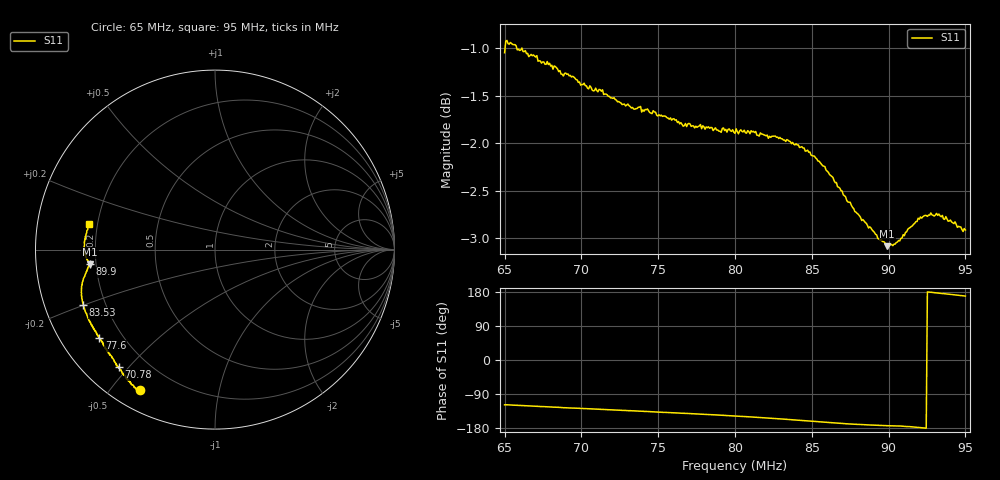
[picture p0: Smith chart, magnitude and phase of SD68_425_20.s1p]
! NanoVNA-App
! Date: 2025-08-09 16:40:08
! Start: 65MHz Stop: 95MHz Points: 401
! S-Parameter data: F S11
# Hz S RI R 50
!  Frequency  S11_Real  S11_Imag
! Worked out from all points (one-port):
!   401 points, 65 MHz to 95 MHz, reference 50 ohm
!   lowest |S11| = -3.1 dB at 89.9 MHz (marker M1), VSWR 5.70, Z = 8.81 - j2.84 ohm
!   |S11| at or under -10 dB: nowhere
!   S11 on the Smith chart (normalised r, x): 65 MHz: 0.08, -0.59; 70.78 MHz: 0.10, -0.47; 77.6 MHz: 0.12, -0.33; 83.53 MHz: 0.12, -0.20; 89.9 MHz: 0.18, -0.06; 95 MHz: 0.17, +0.10
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6.5e7  -0.4194 -0.7806
6.5225e7  -0.4256 -0.7884
6.695e7  -0.466 -0.7494
6.7325e7  -0.4761 -0.7368
6.7925e7  -0.4853 -0.7279
6.875e7  -0.5009 -0.7032
7.0775e7  -0.5368 -0.654
7.13e7  -0.5484 -0.6438
7.25e7  -0.5639 -0.6151
7.43e7  -0.5947 -0.5759
7.625e7  -0.622 -0.5258
7.76e7  -0.6443 -0.4917
8e7  -0.6787 -0.4305
8.195e7  -0.7124 -0.3683
8.3525e7  -0.734 -0.3087
8.375e7  -0.7364 -0.2997
8.48e7  -0.7433 -0.2548
8.57e7  -0.7429 -0.214
8.675e7  -0.7342 -0.1677
8.75e7  -0.7255 -0.1438
8.8925e7  -0.7082 -0.101
8.99e7  -0.6966 -0.0821
9.065e7  -0.7026 -0.0714
9.125e7  -0.7137 -0.0553
9.155e7  -0.7174 -0.0451
9.2225e7  -0.7266 -0.0129
9.32e7  -0.7267 0.0422
9.5e7  -0.7014 0.14
